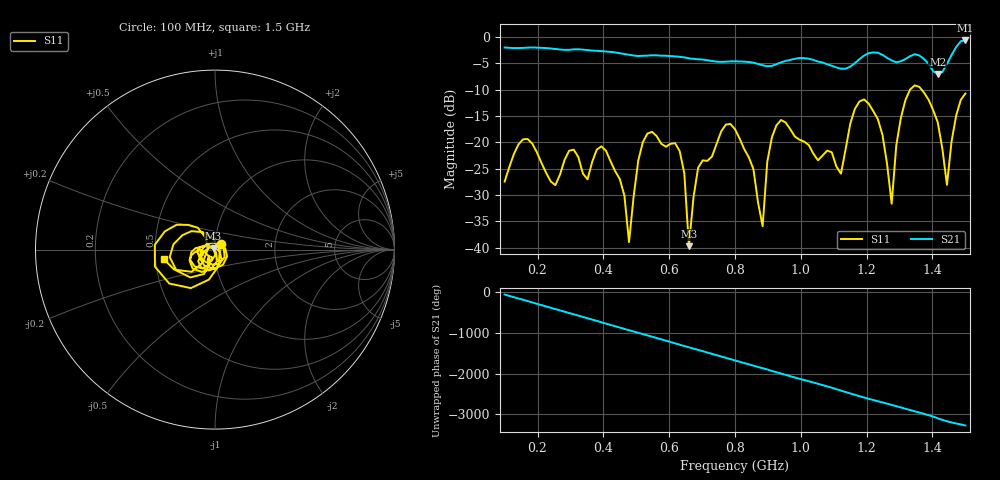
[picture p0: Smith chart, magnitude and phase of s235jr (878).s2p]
! NanoVNA-App
! Date: 2025-09-25 15:11:00
! Start: 100MHz Stop: 1,5GHz Points: 101
! S-Parameter data: F S11 S21 S12 S22
# Hz S RI R 50
!  Frequency  S11_Real  S11_Imag  S21_Real  S21_Imag  S12_Real  S12_Imag  S22_Real  S22_Imag
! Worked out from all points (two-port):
!   101 points, 100 MHz to 1.5 GHz, reference 50 ohm
!   highest |S21| = -0.64 dB at 1.5 GHz (marker M1); lowest = -7.0 dB at 1.416 GHz (marker M2)
!   |S21| within 3 dB of the highest: start of sweep to 610.9 MHz; 1.19 GHz to 1.255 GHz (64.96 MHz wide, 5.32 % of centre) (the widest 2 of 4)
!   lowest |S11| = -39.7 dB at 660 MHz (marker M3), VSWR 1.02, Z = 49.2 + j0.618 ohm
!   |S11| at or under -10 dB: start of sweep to 1.332 GHz; 1.367 GHz to end of sweep
!   S12 and S22 are empty: the file has one direction only
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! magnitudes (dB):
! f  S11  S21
! 100 MHz  -27.5  -2.0
! 156 MHz  -19.4  -2.1
! 338 MHz  -25.9  -2.4
! 408 MHz  -21.6  -2.7
! 478 MHz  -39.0  -3.4
! 520 MHz  -20.0  -3.5
! 576 MHz  -20.3  -3.5
! 632 MHz  -21.7  -3.7
! 660 MHz  -39.7  -4.0
! 688 MHz  -24.8  -4.2
! 800 MHz  -17.5  -4.6
! 884 MHz  -35.9  -5.4
! 926 MHz  -16.8  -5.2
! 1.038 GHz  -22.1  -4.3
! 1.122 GHz  -26.0  -6.0
! 1.192 GHz  -11.8  -3.5
! 1.248 GHz  -18.6  -3.4
! 1.276 GHz  -31.7  -4.4
! 1.332 GHz  -10.0  -3.6
! 1.416 GHz  -16.2  -7.0
! 1.444 GHz  -28.1  -5.1
! 1.5 GHz  -10.7  -0.6
